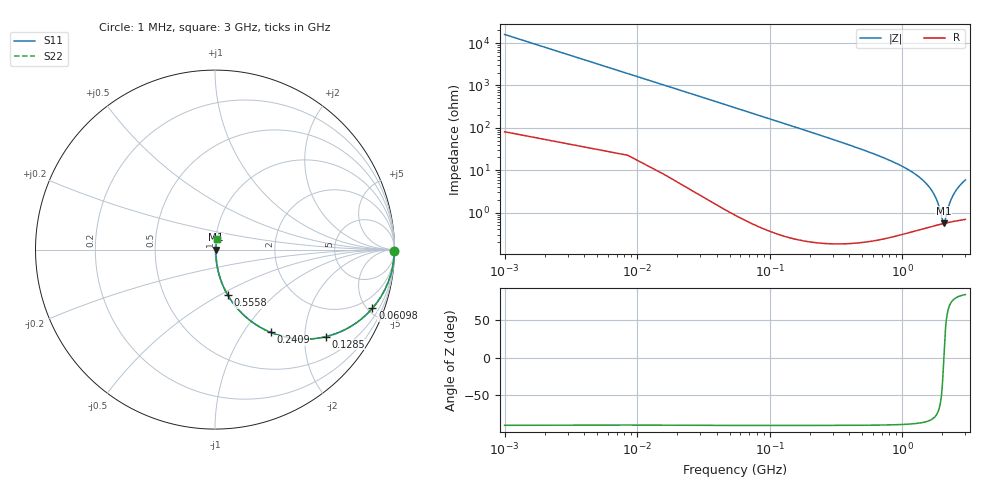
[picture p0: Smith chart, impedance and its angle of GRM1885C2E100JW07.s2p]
!Murata Part Number: GRM1885C2E100JW07
!These Parameters are Measured in Series Mode Connection
!Data Generated on Mar 30, 2021
!  o--ll--o
!Port1  Port2
!  o------o
!Operation Temp=25[degC], DC Bias Voltage=0[V]
!Freq. Start=1000[kHz] Stop=3[GHz] 401[Steps]
# Hz S RI R 50
!Freq.(Hz) S11(Real) S11(Imag) S21(Real) S21(Imag) S12(Real) S12(Imag) S22(Real) S22(Imag)
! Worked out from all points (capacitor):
!   401 points, 1 MHz to 3 GHz, reference 50 ohm
!   read as one part in series: C = 9.75 pF near 15.99 MHz
!   lowest |Z| = 553 mohm at 2.063 GHz (marker M1)
!   series resonance near 2.063 GHz, so ESL is about 610 pH
!   S11 on the Smith chart (normalised r, x): 1 MHz: open; 60.98 MHz: 1.01, -5.35; 128.5 MHz: 1.01, -2.53; 240.9 MHz: 1.00, -1.34; 555.8 MHz: 1.00, -0.54; 3 GHz: 1.01, +0.12
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1000000  0.9999 -0.00628  7.12e-05 0.00628  7.12e-05 0.00628  0.9999 -0.00628
2.34925e7  0.9789 -0.1408  0.0211 0.1408  0.0211 0.1408  0.9789 -0.1408
3.84875e7  0.9466 -0.2229  0.0534 0.2229  0.0534 0.2229  0.9466 -0.2229
6.098e7  0.8769 -0.3272  0.1231 0.3272  0.1231 0.3272  0.8769 -0.3272
9.097e7  0.7622 -0.4246  0.2378 0.4246  0.2378 0.4246  0.7622 -0.4246
1.284575e8  0.616 -0.4853  0.384 0.4853  0.384 0.4853  0.616 -0.4853
2.4092e8  0.3095 -0.4609  0.6905 0.4609  0.6905 0.4609  0.3095 -0.4609
3.533825e8  0.1683 -0.3721  0.8317 0.3721  0.8317 0.3721  0.1683 -0.3721
5.033325e8  0.0863 -0.2776  0.9137 0.2776  0.9137 0.2776  0.0863 -0.2776
5.55815e8  0.0704 -0.2521  0.9296 0.2521  0.9296 0.2521  0.0704 -0.2521
1.005665e9  0.0177 -0.1201  0.9823 0.1201  0.9823 0.1201  0.0177 -0.1201
1.5005e9  0.00679 -0.0498  0.9932 0.0498  0.9932 0.0498  0.00679 -0.0498
1.8004e9  0.00541 -0.0209  0.9946 0.0209  0.9946 0.0209  0.00541 -0.0209
1.905365e9  0.00534 -0.0122  0.9947 0.0122  0.9947 0.0122  0.00534 -0.0122
2.002832e9  0.00541 -0.00452  0.9946 0.00452  0.9946 0.00452  0.00541 -0.00452
2.062812e9  0.0055 -7.3e-06  0.9945 7.3e-06  0.9945 7.3e-06  0.0055 -7.3e-06
2.1003e9  0.00558 0.00274  0.9944 -0.00274  0.9944 -0.00274  0.00558 0.00274
2.197768e9  0.00584 0.00965  0.9942 -0.00965  0.9942 -0.00965  0.00584 0.00965
2.28024e9  0.00612 0.0153  0.9939 -0.0153  0.9939 -0.0153  0.00612 0.0153
2.505165e9  0.00712 0.0296  0.9929 -0.0296  0.9929 -0.0296  0.00712 0.0296
2.722592e9  0.00835 0.0424  0.9916 -0.0424  0.9916 -0.0424  0.00835 0.0424
3e9  0.0102 0.0576  0.9898 -0.0576  0.9898 -0.0576  0.0102 0.0576
